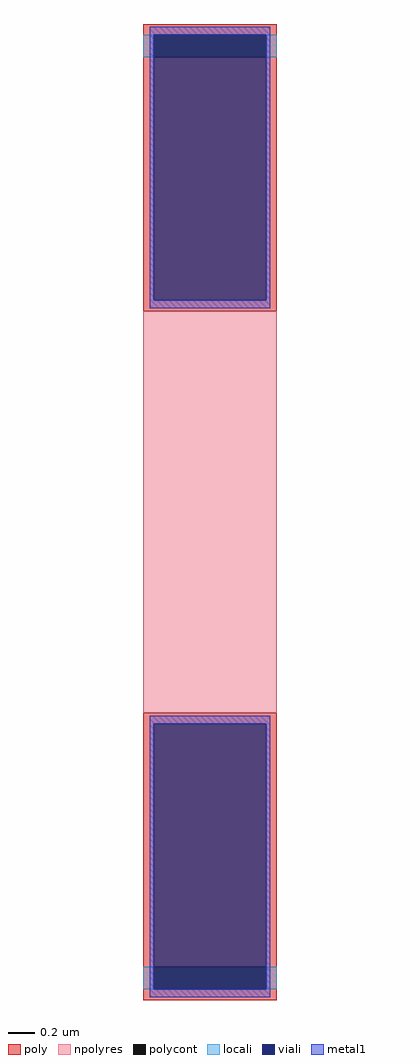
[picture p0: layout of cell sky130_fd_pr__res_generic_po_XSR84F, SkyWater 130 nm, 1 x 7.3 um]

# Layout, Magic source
magic
tech sky130A
magscale 1 2
<< poly >>
rect -100 714 100 730
rect -100 680 -84 714
rect 84 680 100 714
rect -100 300 100 680
rect -100 -680 100 -300
rect -100 -714 -84 -680
rect 84 -714 100 -680
rect -100 -730 100 -714
<< polycont >>
rect -84 680 84 714
rect -84 -714 84 -680
<< npolyres >>
rect -100 -300 100 300
<< locali >>
rect -100 680 -84 714
rect 84 680 100 714
rect -100 -714 -84 -680
rect 84 -714 100 -680
<< viali >>
rect -84 680 84 714
rect -84 317 84 680
rect -84 -680 84 -317
rect -84 -714 84 -680
<< metal1 >>
rect -90 714 90 726
rect -90 317 -84 714
rect 84 317 90 714
rect -90 305 90 317
rect -90 -317 90 -305
rect -90 -714 -84 -317
rect 84 -714 90 -317
rect -90 -726 90 -714
<< properties >>
string gencell sky130_fd_pr__res_generic_po
string library sky130
string parameters w 1 l 3.0 m 1 nx 1 wmin 0.330 lmin 1.650 rho 48.2 val 144.6 dummy 0 dw 0.0 term 0.0 sterm 0.0 caplen 0.4 snake 0 guard 0 glc 1 grc 1 gtc 1 gbc 1 roverlap 0 endcov 100 full_metal 1 hv_guard 0 n_guard 0 vias 1 viagb 0 viagt 0 viagl 0 viagr 0
<< end >>
